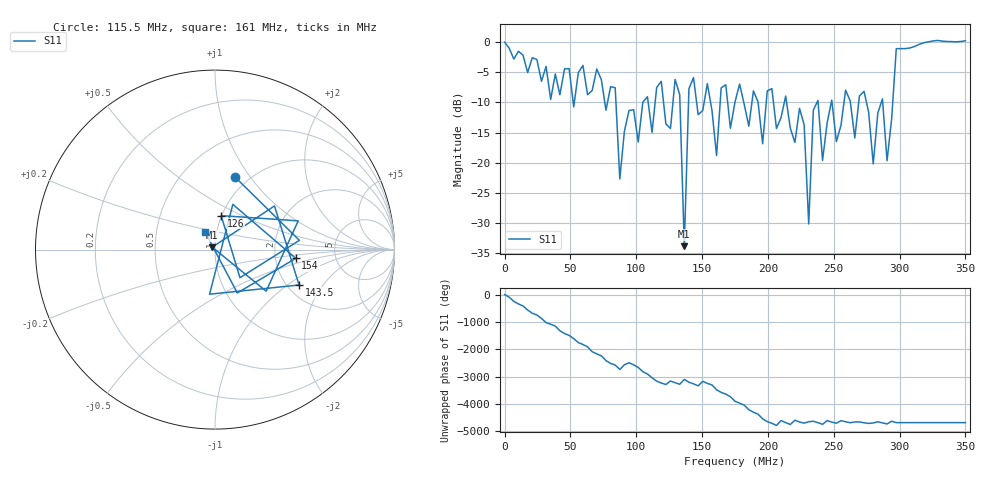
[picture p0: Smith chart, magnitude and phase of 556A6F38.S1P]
!File created by NanoVNA
# Hz S RI R 50
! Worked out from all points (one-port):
!   101 points, 50 kHz to 350 MHz, reference 50 ohm
!   lowest |S11| = -33.8 dB at 136.5 MHz (marker M1), VSWR 1.04, Z = 48.5 + j1.3 ohm
!   |S11| at or under -10 dB: 84.6 MHz to 105 MHz (20.42 MHz wide, 21.5 % of centre); 214.2 MHz to 237.3 MHz (23.07 MHz wide, 10.2 % of centre); 274.9 MHz to 286.1 MHz (11.25 MHz wide, 4.01 % of centre) (the widest 3 of 18)
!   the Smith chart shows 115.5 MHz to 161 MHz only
!   S11 on the Smith chart (normalised r, x): 115.5 MHz: 0.86, +0.85; 126 MHz: 0.99, +0.39; 143.5 MHz: 2.31, -1.23; 154 MHz: 2.61, -0.32; 161 MHz: 0.88, +0.18
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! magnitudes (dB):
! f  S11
! 50 kHz  0.0
! 45.54 MHz  -4.4
! 84.04 MHz  -7.6
! 87.54 MHz  -22.7
! 94.54 MHz  -11.3
! 115.5 MHz  -7.5
! 126 MHz  -14.3
! 133 MHz  -8.7
! 136.5 MHz  -33.8
! 140 MHz  -7.7
! 143.5 MHz  -5.9
! 154 MHz  -6.9
! 161 MHz  -18.8
! 164.5 MHz  -7.6
! 175 MHz  -9.9
! 220.5 MHz  -16.6
! 227.5 MHz  -13.7
! 231 MHz  -30.2
! 234.5 MHz  -11.3
! 241.5 MHz  -19.6
! 262.5 MHz  -9.7
! 273 MHz  -8.2
! 280 MHz  -20.2
! 287 MHz  -9.4
! 290.5 MHz  -19.7
! 297.5 MHz  -1.1
! 308 MHz  -1.0
! 350 MHz  0.2
